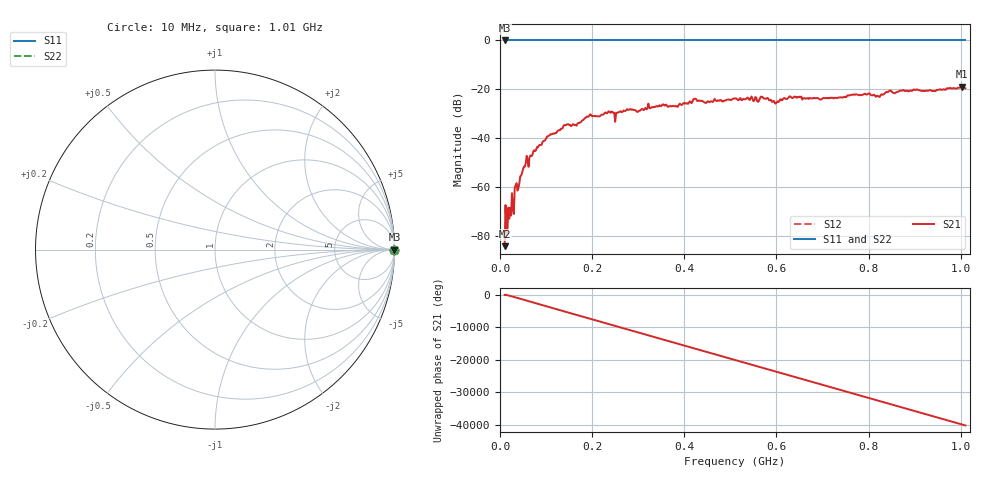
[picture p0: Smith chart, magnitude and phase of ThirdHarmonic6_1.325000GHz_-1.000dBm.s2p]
! 8/16/2025 2:46:10 PM
! C:\ANRITSUVNA\TEMP\TEMP.S2P
! CHANNEL.1
! TR.MEASUREMENT
! RAW.DATA
! RF.CORRECTION.OFF
! AVERAGING.OFF
! IF.BANDWIDTH: 5KHZ
! SWEEPTYPE:  FREQ.SWEEP(Linear)
! Reference Plane Port Info
! PORT:  PORT1  PORT2
! DISTANCE:  0  m  0  m
! TIME:  0  s  0  s
! PHASE.OFFSET:  0  deg.  0  deg.
! LOSS:  0  dB  0  dB
! REF.LOSS:  0  dB  0  dB
! REF.FREQ:  0  Hz  0  Hz
! Power Info
! POWER:  -20  dBm  -20  dBm
! EFF.POWER:  -20  dBm  -20  dBm
! SOURCE.ATTEN:  0  dB  0  dB
! TEST.ATTEN:  0  dB  0  dB
# GHZ S RI R 50.0
! FREQ.GHZ  S11RE  S11IM  S21RE  S21IM  S12RE  S12IM  S22RE  S22IM
!; PortSelection: Port_12
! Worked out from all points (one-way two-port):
!   501 points, 10 MHz to 1.01 GHz, reference 50 ohm
!   highest |S21| = -18.91 dB at 1.002 GHz (marker M1); lowest = -84.0 dB at 10 MHz (marker M2)
!   lowest |S11| = 0.0 dB at 10 MHz (marker M3)
!   |S11| at or under -10 dB: nowhere
!   |S22| runs from 0.0 to 0.0 dB; largest |S21 - S12| = 1.1
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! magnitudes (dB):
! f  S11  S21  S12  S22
! 10 MHz  0.0  -84.0  0.0  0.0
! 18 MHz  0.0  -68.2  0.0  0.0
! 22 MHz  0.0  -68.3  0.0  0.0
! 26 MHz  0.0  -62.3  0.0  0.0
! 36 MHz  0.0  -58.3  0.0  0.0
! 42 MHz  0.0  -58.3  0.0  0.0
! 56 MHz  0.0  -50.0  0.0  0.0
! 106 MHz  0.0  -38.9  0.0  0.0
! 142 MHz  0.0  -34.7  0.0  0.0
! 178 MHz  0.0  -32.7  0.0  0.0
! 194 MHz  0.0  -30.5  0.0  0.0
! 344 MHz  0.0  -26.9  0.0  0.0
! 422 MHz  0.0  -23.8  0.0  0.0
! 510 MHz  0.0  -23.7  0.0  0.0
! 570 MHz  0.0  -23.2  0.0  0.0
! 600 MHz  0.0  -25.3  0.0  0.0
! 630 MHz  0.0  -22.8  0.0  0.0
! 678 MHz  0.0  -23.6  0.0  0.0
! 820 MHz  0.0  -22.6  0.0  0.0
! 844 MHz  0.0  -20.7  0.0  0.0
! 1.002 GHz  0.0  -18.9  0.0  0.0
! 1.01 GHz  0.0  -19.6  0.0  0.0
